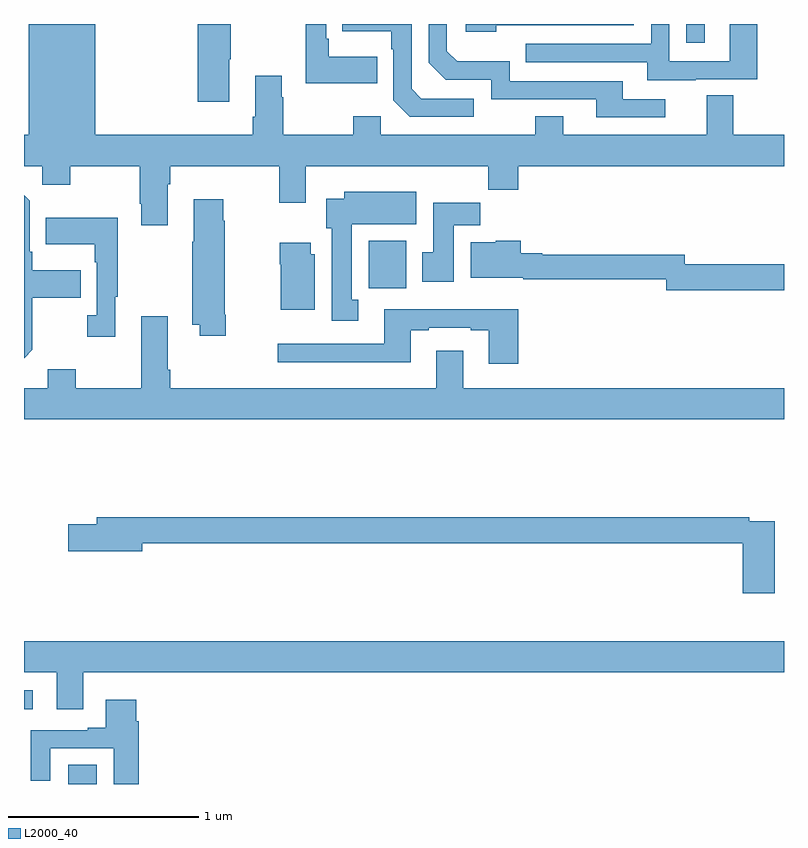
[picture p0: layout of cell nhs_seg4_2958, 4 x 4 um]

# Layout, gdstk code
import gdstk
lib = gdstk.Library(unit=1e-6, precision=1e-09)
def R(c, l, rs):  # rectangles x0, y0, x1, y1
    for r in rs: c.add(gdstk.rectangle(r[:2], r[2:], *l))
def P(c, l, *ps):  # polygons
    for p in ps: c.add(gdstk.Polygon(p, *l))
L2000_40 = (2000, 40)

nhs_seg4_2958 = lib.new_cell('nhs_seg4_2958')
R(nhs_seg4_2958, L2000_40, [(267.233,794.9,267.382,795.002), (267,795.293,267.046,795.394), (268.815,797.508,269.011,797.758), (270.486,798.801,270.583,798.9)])
P(nhs_seg4_2958, L2000_40, [(267.376,798.9),(267.026,798.9),(267.026,798.316),(267,798.316),(267,798.152),(267.096,798.152),(267.096,798.053),(267.243,798.053),(267.243,798.152),(267.61,798.152),(267.61,797.953),(267.617,797.953),(267.617,797.841),(267.757,797.841),(267.757,798.056),(267.77,798.056),(267.77,798.152),(268.343,798.152),(268.343,797.958),(268.483,797.958),(268.483,798.152),(269.443,798.152),(269.443,798.028),(269.6,798.028),(269.6,798.152),(271,798.152),(271,798.316),(270.733,798.316),(270.733,798.524),(270.593,798.524),(270.593,798.316),(269.839,798.316),(269.839,798.415),(269.692,798.415),(269.692,798.316),(268.878,798.316),(268.878,798.415),(268.732,798.415),(268.732,798.316),(268.365,798.316),(268.365,798.515),(268.357,798.515),(268.357,798.628),(268.217,798.628),(268.217,798.412),(268.205,798.412),(268.205,798.316),(267.376,798.316)],
  [(269.486,798.894),(270.21,798.894),(270.21,798.9),(269.325,798.9),(269.325,798.86),(269.486,798.86)],
  [(269.368,798.507),(269.091,798.507),(269.04,798.558),(269.04,798.9),(268.675,798.9),(268.675,798.863),(268.932,798.863),(268.932,798.767),(268.944,798.767),(268.944,798.498),(269.031,798.411),(269.368,798.411)],
  [(270.535,798.609),(270.859,798.609),(270.859,798.9),(270.714,798.9),(270.714,798.705),(270.396,798.705),(270.396,798.9),(270.3,798.9),(270.3,798.795),(269.641,798.795),(269.641,798.699),(270.281,798.699),(270.281,798.605),(270.535,798.605)],
  [(270.376,798.504),(270.151,798.504),(270.151,798.6),(269.556,798.6),(269.556,798.703),(269.279,798.703),(269.226,798.756),(269.226,798.9),(269.13,798.9),(269.13,798.696),(269.22,798.606),(269.46,798.606),(269.46,798.504),(270.011,798.504),(270.011,798.408),(270.376,798.408)],
  [(268.859,798.727),(268.603,798.727),(268.603,798.823),(268.59,798.823),(268.59,798.9),(268.482,798.9),(268.482,798.587),(268.859,798.587)],
  [(268.081,798.715),(268.089,798.715),(268.089,798.9),(267.914,798.9),(267.914,798.492),(268.081,798.492)],
  [(268.759,797.449),(268.726,797.449),(268.726,797.846),(269.065,797.846),(269.065,798.016),(268.685,798.016),(268.685,797.98),(268.592,797.98),(268.592,797.826),(268.619,797.826),(268.619,797.337),(268.759,797.337)],
  [(267.043,797.185),(267.043,797.458),(267.299,797.458),(267.299,797.605),(267.043,797.605),(267.043,797.701),(267.03,797.701),(267.03,797.97),(267,798),(267,797.142)],
  [(268.061,797.371),(268.056,797.371),(268.056,797.864),(268.048,797.864),(268.048,797.977),(267.893,797.977),(267.893,797.753),(267.886,797.753),(267.886,797.318),(267.926,797.318),(267.926,797.259),(268.061,797.259)],
  [(269.263,797.84),(269.402,797.84),(269.402,797.958),(269.153,797.958),(269.153,797.7),(269.096,797.7),(269.096,797.544),(269.263,797.544)],
  [(267.481,797.465),(267.493,797.465),(267.493,797.881),(267.115,797.881),(267.115,797.741),(267.372,797.741),(267.372,797.645),(267.384,797.645),(267.384,797.366),(267.333,797.366),(267.333,797.253),(267.481,797.253)],
  [(271,797.636),(270.477,797.636),(270.477,797.686),(269.727,797.686),(269.727,797.694),(269.615,797.694),(269.615,797.758),(269.484,797.758),(269.484,797.752),(269.351,797.752),(269.351,797.564),(269.627,797.564),(269.627,797.557),(270.381,797.557),(270.381,797.5),(271,797.5)],
  [(268.531,797.688),(268.51,797.688),(268.51,797.749),(268.345,797.749),(268.345,797.636),(268.352,797.636),(268.352,797.396),(268.531,797.396)],
  [(269.6,797.398),(268.895,797.398),(268.895,797.217),(268.335,797.217),(268.335,797.12),(269.035,797.12),(269.035,797.289),(269.131,797.289),(269.131,797.301),(269.351,797.301),(269.351,797.289),(269.447,797.289),(269.447,797.112),(269.6,797.112)],
  [(271,796.984),(269.311,796.984),(269.311,797.179),(269.171,797.179),(269.171,796.984),(267.77,796.984),(267.77,797.08),(267.757,797.08),(267.757,797.362),(267.617,797.362),(267.617,796.984),(267.273,796.984),(267.273,797.083),(267.125,797.083),(267.125,796.984),(267,796.984),(267,796.82),(271,796.82)],
  [(270.952,796.284),(270.818,796.284),(270.818,796.304),(267.383,796.304),(267.383,796.268),(267.234,796.268),(267.234,796.126),(267.622,796.126),(267.622,796.168),(270.782,796.168),(270.782,795.903),(270.952,795.903)],
  [(267.313,795.488),(271,795.488),(271,795.652),(267,795.652),(267,795.488),(267.173,795.488),(267.173,795.294),(267.313,795.294)],
  [(267.605,795.23),(267.592,795.23),(267.592,795.343),(267.431,795.343),(267.431,795.196),(267.335,795.196),(267.335,795.183),(267.035,795.183),(267.035,794.916),(267.139,794.916),(267.139,795.087),(267.473,795.087),(267.473,794.9),(267.605,794.9)])

lib.write_gds('nhs_seg4_2958.gds')
